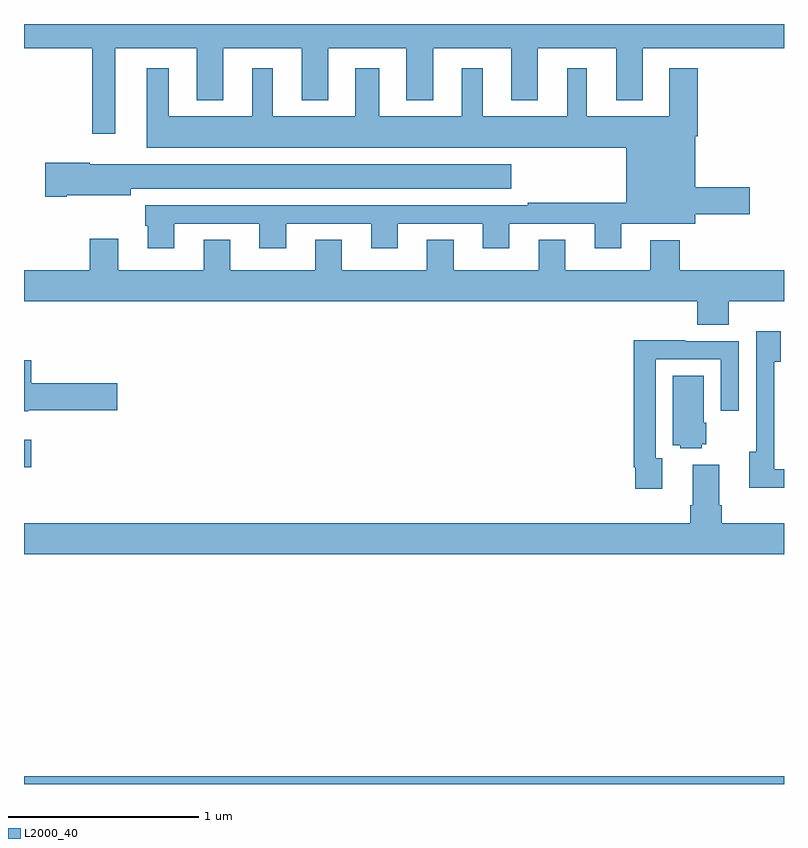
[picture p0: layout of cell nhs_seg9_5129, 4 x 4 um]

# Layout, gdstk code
import gdstk
lib = gdstk.Library(unit=1e-6, precision=1e-09)
def R(c, l, rs):  # rectangles x0, y0, x1, y1
    for r in rs: c.add(gdstk.rectangle(r[:2], r[2:], *l))
def P(c, l, *ps):  # polygons
    for p in ps: c.add(gdstk.Polygon(p, *l))
L2000_40 = (2000, 40)

nhs_seg9_5129 = lib.new_cell('nhs_seg9_5129')
R(nhs_seg9_5129, L2000_40, [(407,1240.5,411,1240.54), (407,1242.166,407.038,1242.313)])
P(nhs_seg9_5129, L2000_40, [(407.479,1244.372),(407.909,1244.372),(407.909,1244.099),(408.049,1244.099),(408.049,1244.372),(408.461,1244.372),(408.461,1244.099),(408.601,1244.099),(408.601,1244.372),(409.013,1244.372),(409.013,1244.099),(409.153,1244.099),(409.153,1244.372),(409.565,1244.372),(409.565,1244.099),(409.705,1244.099),(409.705,1244.372),(410.117,1244.372),(410.117,1244.099),(410.257,1244.099),(410.257,1244.372),(411,1244.372),(411,1244.5),(407,1244.5),(407,1244.372),(407.358,1244.372),(407.358,1243.923),(407.479,1243.923)],
  [(407.791,1243.449),(408.239,1243.449),(408.239,1243.32),(408.379,1243.32),(408.379,1243.449),(408.827,1243.449),(408.827,1243.32),(408.967,1243.32),(408.967,1243.449),(409.415,1243.449),(409.415,1243.32),(409.555,1243.32),(409.555,1243.449),(410.003,1243.449),(410.003,1243.32),(410.143,1243.32),(410.143,1243.448),(410.533,1243.448),(410.533,1243.498),(410.821,1243.498),(410.821,1243.64),(410.533,1243.64),(410.533,1243.91),(410.546,1243.91),(410.546,1244.266),(410.396,1244.266),(410.396,1244.014),(409.963,1244.014),(409.963,1244.266),(409.859,1244.266),(409.859,1244.014),(409.414,1244.014),(409.414,1244.266),(409.304,1244.266),(409.304,1244.014),(408.871,1244.014),(408.871,1244.266),(408.743,1244.266),(408.743,1244.014),(408.31,1244.014),(408.31,1244.266),(408.2,1244.266),(408.2,1244.014),(407.761,1244.014),(407.761,1244.266),(407.645,1244.266),(407.645,1243.85),(410.171,1243.85),(410.171,1243.558),(409.651,1243.558),(409.651,1243.545),(407.639,1243.545),(407.639,1243.437),(407.651,1243.437),(407.651,1243.32),(407.791,1243.32)],
  [(407.224,1243.598),(407.563,1243.598),(407.563,1243.634),(409.564,1243.634),(409.564,1243.762),(407.346,1243.762),(407.346,1243.769),(407.112,1243.769),(407.112,1243.591),(407.224,1243.591)],
  [(410.543,1242.916),(410.708,1242.916),(410.708,1243.04),(411,1243.04),(411,1243.204),(410.45,1243.204),(410.45,1243.363),(410.297,1243.363),(410.297,1243.204),(409.849,1243.204),(409.849,1243.364),(409.709,1243.364),(409.709,1243.204),(409.261,1243.204),(409.261,1243.364),(409.121,1243.364),(409.121,1243.204),(408.673,1243.204),(408.673,1243.364),(408.533,1243.364),(408.533,1243.204),(408.085,1243.204),(408.085,1243.364),(407.945,1243.364),(407.945,1243.204),(407.497,1243.204),(407.497,1243.369),(407.345,1243.369),(407.345,1243.204),(407,1243.204),(407,1243.04),(410.543,1243.04)],
  [(411,1242.156),(410.949,1242.156),(410.949,1242.722),(410.983,1242.722),(410.983,1242.883),(410.853,1242.883),(410.853,1242.25),(410.816,1242.25),(410.816,1242.059),(411,1242.059)],
  [(410.359,1242.215),(410.325,1242.215),(410.325,1242.735),(410.667,1242.735),(410.667,1242.465),(410.763,1242.465),(410.763,1242.831),(410.479,1242.831),(410.479,1242.835),(410.209,1242.835),(410.209,1242.166),(410.217,1242.166),(410.217,1242.054),(410.359,1242.054)],
  [(407.022,1242.467),(407.491,1242.467),(407.491,1242.609),(407.039,1242.609),(407.039,1242.73),(407,1242.73),(407,1242.461),(407.022,1242.461)],
  [(410.568,1242.288),(410.59,1242.288),(410.59,1242.402),(410.578,1242.402),(410.578,1242.65),(410.414,1242.65),(410.414,1242.284),(410.454,1242.284),(410.454,1242.266),(410.568,1242.266)],
  [(411,1241.872),(410.672,1241.872),(410.672,1241.968),(410.659,1241.968),(410.659,1242.181),(410.519,1242.181),(410.519,1241.968),(410.507,1241.968),(410.507,1241.872),(407,1241.872),(407,1241.708),(411,1241.708)])

lib.write_gds('nhs_seg9_5129.gds')
